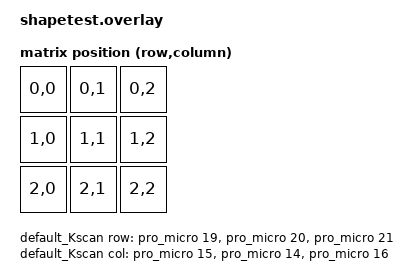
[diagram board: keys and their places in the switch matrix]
#include <dt-bindings/zmk/matrix_transform.h> 

/ {
    chosen {
        zmk,kscan = &default_Kscan;
        zmk,matrix_transform = &default_transform;
    };

    default_Kscan: kscan {
        compatible = "zmk,kscan-gpio-matrix";
        label = "default_Kscan";
        diode-direction = "col2row";
        

        col-gpios
            = <&pro_micro 15 GPIO_ACTIVE_HIGH>
            , <&pro_micro 14 GPIO_ACTIVE_HIGH>
            , <&pro_micro 16 GPIO_ACTIVE_HIGH>
            ;

        row-gpios
            = <&pro_micro 19 (GPIO_ACTIVE_HIGH | GPIO_PULL_DOWN)>
            , <&pro_micro 20 (GPIO_ACTIVE_HIGH | GPIO_PULL_DOWN)>
            , <&pro_micro 21 (GPIO_ACTIVE_HIGH | GPIO_PULL_DOWN)>
            ;
    };

    default_transform: keymap_transform0 {
        compatible = "zmk,matrix-transform";
        columns = <3>;
        rows = <3>; 
        map = <
            RC(0,0) RC(0,1) RC(0,2)
            RC(1,0) RC(1,1) RC(1,2)
            RC(2,0) RC(2,1) RC(2,2)
        >;
    };
};%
